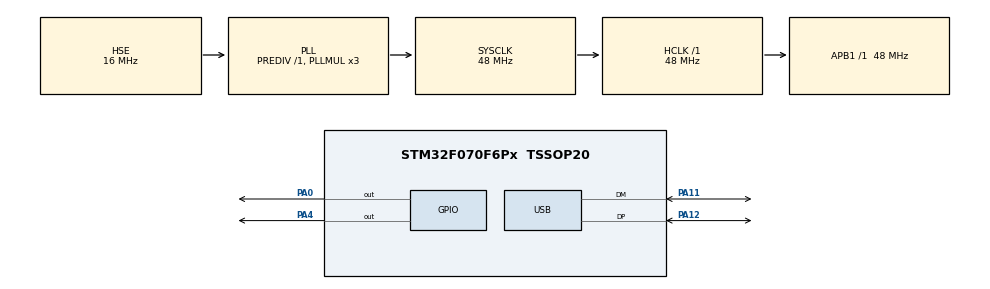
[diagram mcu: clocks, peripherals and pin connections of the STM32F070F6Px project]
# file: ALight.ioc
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Mcu.Family=STM32F0
Mcu.Name=STM32F070F6Px
Mcu.Package=TSSOP20
NVIC.TIM1_BRK_UP_TRG_COM_IRQn=true\:0\:0\:false\:false\:true\:true\:true
NVIC.TIM1_CC_IRQn=true\:0\:0\:false\:false\:true\:true\:true
NVIC.USB_IRQn=true\:0\:0\:false\:false\:true\:false\:true
PA0.GPIO_ModeDefaultOutputPP=GPIO_MODE_OUTPUT_OD
PA0.GPIO_Speed=GPIO_SPEED_FREQ_HIGH
PA0.Signal=GPIO_Output
PA11.Mode=Device
PA11.Signal=USB_DM
PA12.Mode=Device
PA12.Signal=USB_DP
PA13.Mode=Serial_Wire
PA13.Signal=SYS_SWDIO
PA14.Mode=Serial_Wire
PA14.Signal=SYS_SWCLK
PA4.GPIO_Speed=GPIO_SPEED_FREQ_HIGH
PA4.Signal=GPIO_Output
PF0-OSC_IN.Mode=HSE-External-Oscillator
PF0-OSC_IN.Signal=RCC_OSC_IN
PF1-OSC_OUT.Mode=HSE-External-Oscillator
PF1-OSC_OUT.Signal=RCC_OSC_OUT
ProjectManager.HeapSize=0x200
ProjectManager.StackSize=0x400
ProjectManager.TargetToolchain=SW4STM32
RCC.AHBFreq_Value=48000000
RCC.APB1Freq_Value=48000000
RCC.APB1TimFreq_Value=48000000
RCC.HCLKFreq_Value=48000000
RCC.HSE_VALUE=16000000
RCC.PLLMUL=RCC_PLL_MUL3
RCC.SYSCLKFreq_VALUE=48000000
RCC.SYSCLKSource=RCC_SYSCLKSOURCE_PLLCLK
TIM1.Period=47999
USB_DEVICE.CLASS_NAME_FS=CDC
USB_DEVICE.VirtualMode=Cdc
USB_DEVICE.VirtualModeFS=Cdc_FS
VP_SYS_VS_PINREMAP.Mode=PINREMAP
VP_TIM1_VS_ClockSourceINT.Mode=Internal
VP_USB_DEVICE_VS_USB_DEVICE_CDC_FS.Mode=CDC_FS
board=custom

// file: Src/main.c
/* USER CODE BEGIN Header */
/**
  ******************************************************************************
  * @file           : main.c
  * @brief          : Main program body
  ******************************************************************************
  * @attention
  *
  * <h2><center>&copy; Copyright (c) 2019 STMicroelectronics.
  * All rights reserved.</center></h2>
  *
  * This software component is licensed by ST under Ultimate Liberty license
  * SLA0044, the "License"; You may not use this file except in compliance with
  * the License. You may obtain a copy of the License at:
  *                             www.st.com/SLA0044
  *
  ******************************************************************************
  */
/* USER CODE END Header */

#include "main.h"
#include "usb_device.h"

TIM_HandleTypeDef htim1;

void SystemClock_Config(void);
static void MX_GPIO_Init(void);
static void MX_TIM1_Init(void);

/* USER CODE BEGIN 0 */
#include "flash.h"

float light = 0.1;
uint32_t MSled[255];
uint32_t led_num = 0;
uint32_t led_fl= 0;
uint32_t led_cur = 0;
uint32_t tim1=0;
uint8_t frx=0;
uint8_t fok=1;
uint8_t fstart=0;

void LED_set(uint32_t *ms, uint32_t ln)
{
	 __disable_irq();
	for(uint8_t n=0; n<ln; n++)
	{
		for(int32_t b = 23; b>=0; b--)
		{
			if(ms[n] & (1<<b))
			{
				GPIOA->ODR |= 0x1;
				asm volatile ("nop; nop; nop; nop; nop; nop; nop; nop; nop; nop; nop; nop; nop; nop; nop; nop; nop; nop; nop; nop; nop; nop; nop; nop; nop; nop; nop; nop; nop; nop; nop; nop;");
				GPIOA->ODR &=~ 0x1;
				asm volatile ("nop; nop; nop; nop;");
			}
			else
			{
				GPIOA->ODR |= 0x1;
				asm volatile ("nop; nop; nop; nop; nop; nop; nop; nop; nop; nop; nop; nop; nop; nop; nop; nop; nop;");
				GPIOA->ODR &=~ 0x1;
				asm volatile ("nop; nop; nop; nop; nop; nop; nop; nop; nop; nop; nop; nop; nop; nop; nop; nop; nop;");
			}
		}
	}
	__enable_irq();
}

/* USER CODE END 0 */

int main(void)
{

  /* MCU Configuration--------------------------------------------------------*/

  /* Reset of all peripherals, Initializes the Flash interface and the Systick. */
  HAL_Init();

  /* Configure the system clock */
  SystemClock_Config();

  /* Initialize all configured peripherals */
  MX_GPIO_Init();
  MX_TIM1_Init();
  MX_USB_DEVICE_Init();
  /* USER CODE BEGIN 2 */

    flash_unlock();
  	led_num = flash_read(0x08007C00);

  	if(led_num>254) led_num = 30;

  	float clr_r, clr_b;
  	light = 500.0/(24.0*led_num);
  	if(light>1) light=1;

    for(uint8_t i=0; i<led_num; i++)
    {
    	clr_r = 255.0*(led_num-i)/led_num;
    	clr_b = 255.0*i/led_num;

    	uint8_t buf_r = light*clr_r;
    	uint8_t buf_b = light*clr_b;

    	if(0)																	// Выбор визуализации старта
    	{
    		for(uint8_t j=0; j<=i; j++)
    			MSled[j]=buf_r*0x100 + buf_b;
    	}
    		else
    			MSled[i]=buf_r*0x100 + buf_b;

    			MSled[0]=buf_r*0x100 + buf_b;

    	LED_set(MSled,  led_num);
    	HAL_Delay(700/led_num);
    }

    HAL_Delay(300);
    led_fl = led_num;

    for(uint8_t i=0; i<led_num; i++) MSled[i]=0x0;
    LED_set(MSled,  led_num);

  	HAL_TIM_Base_Start(&htim1);
    HAL_TIM_Base_Start_IT(&htim1);

    fstart=1;

  /* USER CODE END 2 */

  /* Infinite loop */
  /* USER CODE BEGIN WHILE */
  while (1)
  {
	  if(fok)
	  {
		  LED_set(MSled, led_num);
		  fok=0;
	  }
	  HAL_Delay(1);

	  if(led_num != led_fl)
	  {
		  flash_erase_page(0x08007C00);
		  flash_write(0x08007C00, led_num);
		  led_fl = led_num;
	  }
    /* USER CODE END WHILE */

  }
}

void SystemClock_Config(void)
{
  RCC_OscInitTypeDef RCC_OscInitStruct = {0};
  RCC_ClkInitTypeDef RCC_ClkInitStruct = {0};
  RCC_PeriphCLKInitTypeDef PeriphClkInit = {0};

  /** Initializes the CPU, AHB and APB busses clocks
  */
  RCC_OscInitStruct.OscillatorType = RCC_OSCILLATORTYPE_HSE;
  RCC_OscInitStruct.HSEState = RCC_HSE_ON;
  RCC_OscInitStruct.PLL.PLLState = RCC_PLL_ON;
  RCC_OscInitStruct.PLL.PLLSource = RCC_PLLSOURCE_HSE;
  RCC_OscInitStruct.PLL.PLLMUL = RCC_PLL_MUL3;
  RCC_OscInitStruct.PLL.PREDIV = RCC_PREDIV_DIV1;
  if (HAL_RCC_OscConfig(&RCC_OscInitStruct) != HAL_OK)
  {
    Error_Handler();
  }
  /** Initializes the CPU, AHB and APB busses clocks
  */
  RCC_ClkInitStruct.ClockType = RCC_CLOCKTYPE_HCLK|RCC_CLOCKTYPE_SYSCLK
                              |RCC_CLOCKTYPE_PCLK1;
  RCC_ClkInitStruct.SYSCLKSource = RCC_SYSCLKSOURCE_PLLCLK;
  RCC_ClkInitStruct.AHBCLKDivider = RCC_SYSCLK_DIV1;
  RCC_ClkInitStruct.APB1CLKDivider = RCC_HCLK_DIV1;

  if (HAL_RCC_ClockConfig(&RCC_ClkInitStruct, FLASH_LATENCY_1) != HAL_OK)
  {
    Error_Handler();
  }
  PeriphClkInit.PeriphClockSelection = RCC_PERIPHCLK_USB;
  PeriphClkInit.UsbClockSelection = RCC_USBCLKSOURCE_PLL;

  if (HAL_RCCEx_PeriphCLKConfig(&PeriphClkInit) != HAL_OK)
  {
    Error_Handler();
  }
}

static void MX_TIM1_Init(void)
{

  TIM_ClockConfigTypeDef sClockSourceConfig = {0};
  TIM_MasterConfigTypeDef sMasterConfig = {0};

  htim1.Instance = TIM1;
  htim1.Init.Prescaler = 0;
  htim1.Init.CounterMode = TIM_COUNTERMODE_UP;
  htim1.Init.Period = 47999;
  htim1.Init.ClockDivision = TIM_CLOCKDIVISION_DIV1;
  htim1.Init.RepetitionCounter = 0;
  htim1.Init.AutoReloadPreload = TIM_AUTORELOAD_PRELOAD_DISABLE;
  if (HAL_TIM_Base_Init(&htim1) != HAL_OK)
  {
    Error_Handler();
  }
  sClockSourceConfig.ClockSource = TIM_CLOCKSOURCE_INTERNAL;
  if (HAL_TIM_ConfigClockSource(&htim1, &sClockSourceConfig) != HAL_OK)
  {
    Error_Handler();
  }
  sMasterConfig.MasterOutputTrigger = TIM_TRGO_RESET;
  sMasterConfig.MasterSlaveMode = TIM_MASTERSLAVEMODE_DISABLE;
  if (HAL_TIMEx_MasterConfigSynchronization(&htim1, &sMasterConfig) != HAL_OK)
  {
    Error_Handler();
  }

}

static void MX_GPIO_Init(void)
{
  GPIO_InitTypeDef GPIO_InitStruct = {0};

  /* GPIO Ports Clock Enable */
  __HAL_RCC_GPIOF_CLK_ENABLE();
  __HAL_RCC_GPIOA_CLK_ENABLE();

  /*Configure GPIO pin Output Level */
  HAL_GPIO_WritePin(GPIOA, GPIO_PIN_0|GPIO_PIN_4, GPIO_PIN_RESET);

  /*Configure GPIO pin : PA0 */
  GPIO_InitStruct.Pin = GPIO_PIN_0;
  GPIO_InitStruct.Mode = GPIO_MODE_OUTPUT_OD;
  GPIO_InitStruct.Pull = GPIO_NOPULL;
  GPIO_InitStruct.Speed = GPIO_SPEED_FREQ_HIGH;
  HAL_GPIO_Init(GPIOA, &GPIO_InitStruct);

  /*Configure GPIO pin : PA4 */
  GPIO_InitStruct.Pin = GPIO_PIN_4;
  GPIO_InitStruct.Mode = GPIO_MODE_OUTPUT_PP;
  GPIO_InitStruct.Pull = GPIO_NOPULL;
  GPIO_InitStruct.Speed = GPIO_SPEED_FREQ_HIGH;
  HAL_GPIO_Init(GPIOA, &GPIO_InitStruct);

}

void Error_Handler(void)
{
}

/************************ (C) COPYRIGHT STMicroelectronics *****END OF FILE****/
